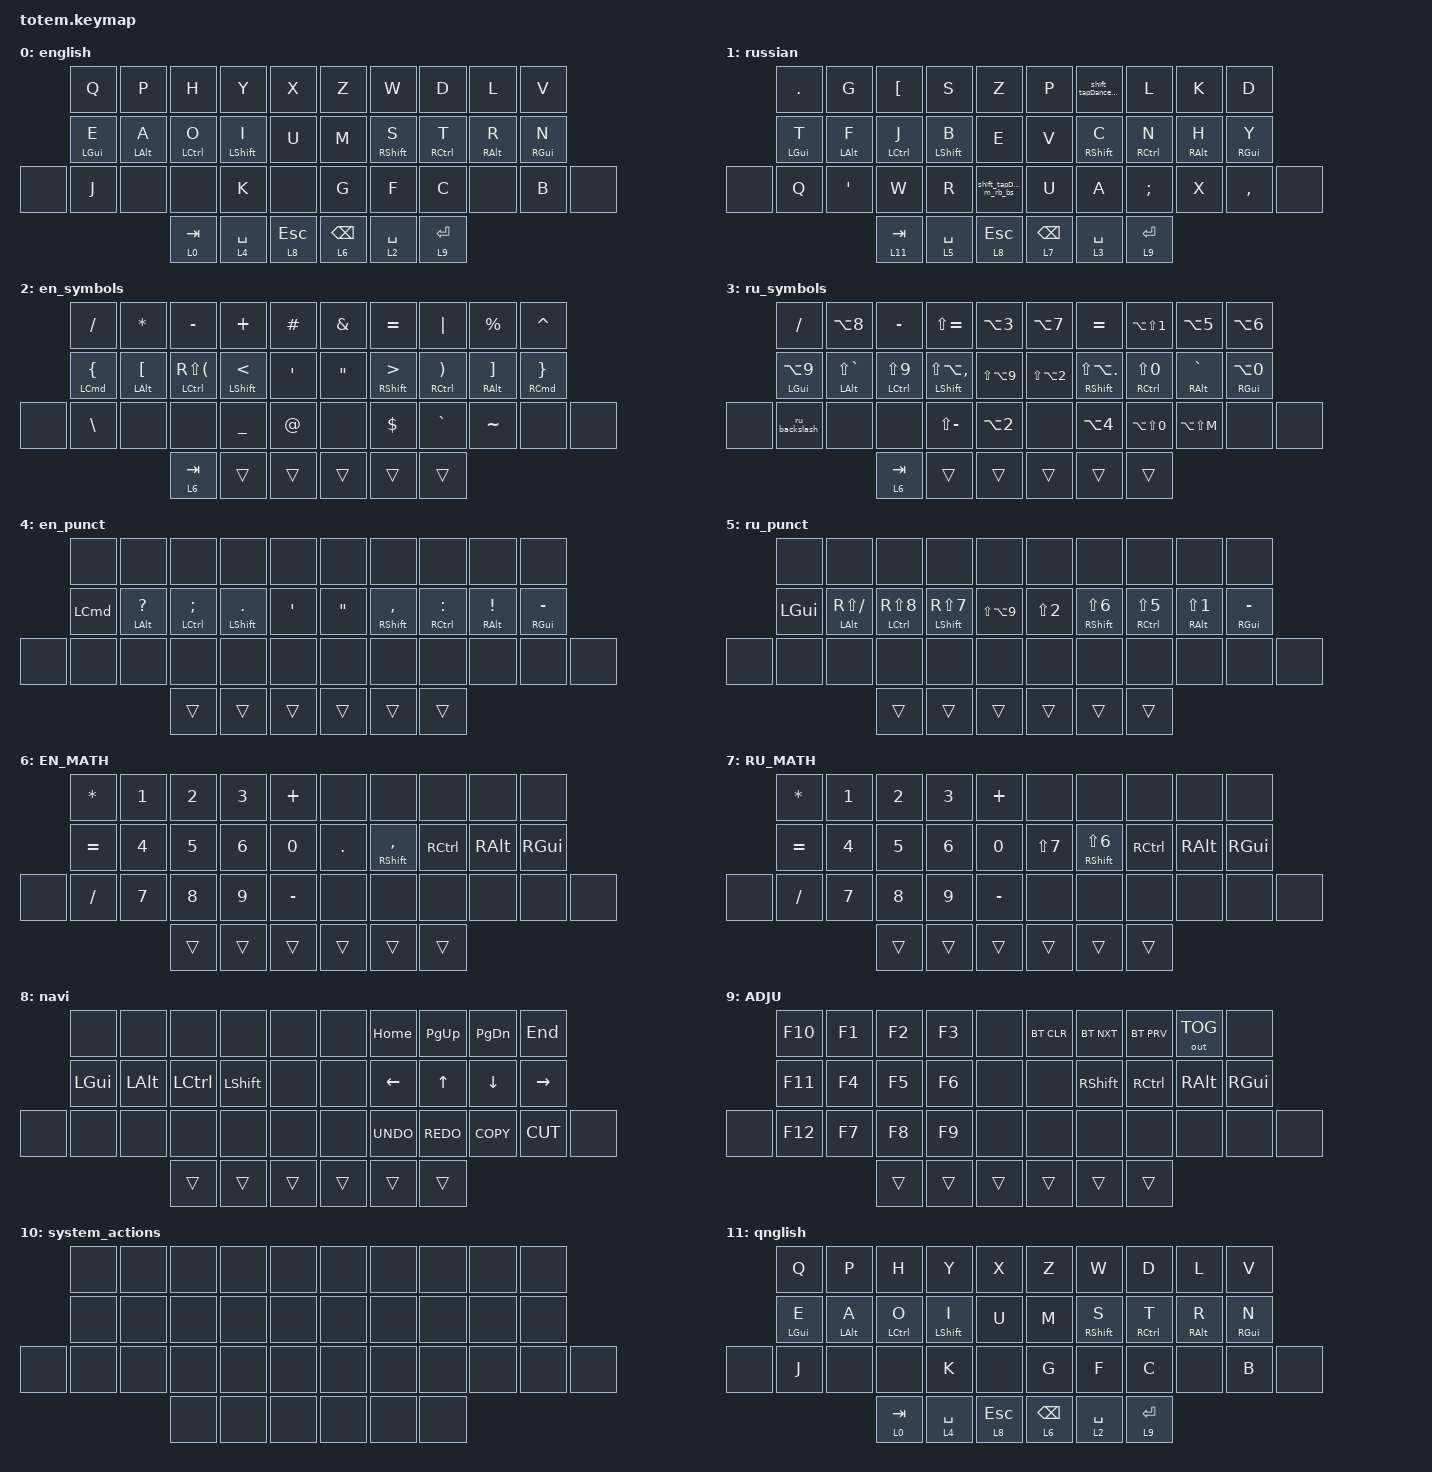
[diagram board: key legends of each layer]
//
//                                                        ▀▀▀▀▀     ▀▀▀▀▀          ▀▀█▀▀
//                                                        ▄▀▀▀▄  ▄  ▄▀▀▀▄  ▄  ▄▀▀▀▄  █  ▄▀▀▀▄
//                                                        █   █  █  █   █  █  █   █  █  █   █
//                                                         ▀▀▀   █   ▀▀▀   █   ▀▀▀   ▀   ▀▀▀
//                                                               █      ▄▄▄█▄▄▄    █   █  
//                                                               ▀      █  █  █     █▄█
//                                                             ▀▀▀▀▀    █  █  █      ▀
//                                                                      ▀  ▀  ▀
//
// ▄▄▄▄▄▄▄▄▄▄▄▄▄▄▄▄▄▄▄▄▄▄▄▄▄▄▄▄▄▄▄▄▄▄▄▄▄▄▄▄▄▄▄▄▄▄▄▄▄▄▄▄▄▄▄▄▄▄▄▄▄▄▄▄▄▄▄▄▄▄▄▄▄▄▄▄▄▄▄▄▄▄▄▄▄▄▄▄▄▄▄▄▄▄▄▄▄▄▄▄▄▄▄▄▄▄▄▄▄▄▄▄▄▄▄▄▄▄▄▄▄▄▄▄▄▄▄▄▄▄▄▄▄▄▄▄▄▄▄▄▄▄▄▄▄▄▄▄▄

#define BASE 0
#define MATH 1
#define SYMB 2
#define ADJU  3

#include <behaviors.dtsi>
#include <dt-bindings/zmk/bt.h>
#include <dt-bindings/zmk/keys.h>
#include <dt-bindings/zmk/outputs.h>

&caps_word {
    continue-list = <UNDERSCORE BACKSPACE DELETE COMMA DOT APOS LBKT RBKT SEMI>;
    mods = <(MOD_LSFT)>;
};

/ {
    combos {
        compatible = "zmk,combos";

        ru_layer {
            bindings = <&ru_layer>;
            key-positions = <37 32>;
            layers = <1 0>;
        };

        en_layer {
            bindings = <&en_layer>;
            key-positions = <36 33>;
        };

        caps_word {
            bindings = <&togle_shift>;
            key-positions = <16 13>;
        };
    };

    behaviors {
        hrm: hrm {
            compatible = "zmk,behavior-hold-tap";
            #binding-cells = <2>;
            flavor = "tap-preferred";
            tapping-term-ms = <200>;
            quick-tap-ms = <200>;
            bindings = <&kp>, <&kp>;
        };

        m_rBraket_backslash: m_rBraket_backslash {
            compatible = "zmk,behavior-tap-dance";
            label = "M_RBRAKET_BACKSLASH";
            #binding-cells = <0>;
            bindings = <&kp M>, <&kp RIGHT_BRACKET>, <&kp BACKSLASH>;

            tapping-term-ms = <200>;
        };

        i_o: i_o {
            compatible = "zmk,behavior-tap-dance";
            label = "I_O";
            #binding-cells = <0>;
            bindings = <&kp I>, <&kp O>;

            tapping-term-ms = <200>;
        };

        sI_sO: sI_sO {
            compatible = "zmk,behavior-tap-dance";
            label = "SI_SO";
            #binding-cells = <0>;
            bindings = <&kp LS(I)>, <&kp LS(O)>;
        };

        sM_sRBraket_sBackslash: sM_sRBraket_sBackslash {
            compatible = "zmk,behavior-tap-dance";
            label = "SM_SRBRAKET_SBACKSLASH";
            #binding-cells = <0>;
            bindings =
                <&kp LS(M)>,
                <&kp LA(RIGHT_BRACKET)>,
                <&kp LS(BACKSLASH)>;
        };

        shift_tapDance_i_o: shift_tapDance_i_o {
            compatible = "zmk,behavior-mod-morph";
            label = "SHIFT_TAPDANCE_I_O";
            bindings = <&i_o>, <&sI_sO>;

            #binding-cells = <0>;
            mods = <(MOD_LSFT|MOD_RSFT)>;
            keep-mods = <(MOD_LSFT|MOD_RSFT)>;
        };

        shift_tapDance_m_rb_bs: shift_tapDance_m_rb_bs {
            compatible = "zmk,behavior-mod-morph";
            label = "SHIFT_TAPDANCE_M_RB_BS";
            bindings = <&m_rBraket_backslash>, <&sM_sRBraket_sBackslash>;

            #binding-cells = <0>;
            mods = <(MOD_LSFT|MOD_RSFT)>;
            keep-mods = <(MOD_LSFT|MOD_RSFT)>;
        };
    };

    macros {
        ru_layer: change_leng_layer {
            compatible = "zmk,behavior-macro";
            #binding-cells = <0>;
            bindings = <&kp LS(LA(LC(LG(NUMBER_1)))) &to 1>;
            label = "CHANGE_LENG_LAYER";
        };

        en_layer: en_ru_layers {
            compatible = "zmk,behavior-macro";
            #binding-cells = <0>;
            bindings = <&kp LC(LS(LA(LG(N0)))) &to 0>;
            label = "EN_RU_LAYERS";
        };

        ru_backslash: ru_backslash {
            compatible = "zmk,behavior-macro";
            #binding-cells = <0>;
            bindings = <&kp LS(LA(SLASH)) &kp SPACE &kp BACKSPACE>;
            label = "RU_BACKSLASH";
            tap-ms = <10>;
        };

        togle_shift: togle_shift {
            compatible = "zmk,behavior-macro";
            #binding-cells = <0>;
            bindings = <&kt LEFT_SHIFT>;
            label = "TOGLE_SHIFT";
        };
    };

    keymap {
        compatible = "zmk,keymap";

        english {
            label = "english";
            bindings = <
       &kp Q        &kp P        &kp H         &kp Y         &kp X        &kp Z            &kp W         &kp D         &kp L        &kp V
       &hrm LGUI E  &hrm LALT A  &hrm LCTRL O  &hrm LSHFT I  &kp U        &kp M            &hrm RSHFT S  &hrm RCTRL T  &hrm RALT R  &hrm RGUI N
&none  &kp J        &none        &none         &kp K         &none        &kp G            &kp F         &kp C         &none        &kp B        &none
                                 &lt 0 TAB     &lt 4 SPACE   &lt 8 ESC    &lt 6 BACKSPACE  &lt 2 SPACE   &lt 9 RET
            >;
        };

        russian {
            bindings = <
       &kp DOT      &kp G        &kp LBKT      &kp S         &kp Z                      &kp P            &shift_tapDance_i_o  &kp L                 &kp K        &kp D
       &hrm LGUI T  &hrm LALT F  &hrm LCTRL J  &hrm LSHFT B  &kp E                      &kp V            &hrm RSHFT C         &hrm RIGHT_CONTROL N  &hrm RALT H  &hrm RGUI Y
&none  &kp Q        &kp APOS     &kp W         &kp R         &shift_tapDance_m_rb_bs    &kp U            &kp A                &kp SEMI              &kp X        &kp COMMA    &none
                                 &lt 11 TAB    &lt 5 SPACE   &lt 8 ESCAPE               &lt 7 BACKSPACE  &lt 3 SPACE          &lt 9 RET
            >;
        };

        en_symbols {
            bindings = <
       &kp FSLH                      &kp STAR                    &kp MINUS                   &kp PLUS               &kp HASH    &kp AMPERSAND      &kp EQUAL                 &kp PIPE                              &kp PERCENT                   &kp CARET
       &hrm LEFT_COMMAND LEFT_BRACE  &hrm LEFT_ALT LEFT_BRACKET  &hrm LEFT_CONTROL RS(LPAR)  &hrm LSHIFT LESS_THAN  &kp SQT     &kp DOUBLE_QUOTES  &hrm RSHIFT GREATER_THAN  &hrm RIGHT_CONTROL RIGHT_PARENTHESIS  &hrm RIGHT_ALT RIGHT_BRACKET  &hrm RIGHT_COMMAND RIGHT_BRACE
&none  &kp BACKSLASH                 &none                       &none                       &kp UNDERSCORE         &kp AT      &none              &kp DOLLAR                &kp GRAVE                             &kp TILDE                     &none                           &none
                                                                 &lt 6 TAB                   &trans                 &trans      &trans             &trans                    &trans
            >;
        };

        ru_symbols {
            bindings = <
       &kp FSLH              &kp LA(N8)           &kp MINUS          &kp LS(EQUAL)                  &kp LA(N3)        &kp LA(N7)            &kp EQUAL                        &kp LA(LS(N1))     &kp LA(N5)       &kp LA(N6)
       &hrm LEFT_GUI LA(N9)  &hrm LALT LS(GRAVE)  &hrm LCTRL LS(N9)  &hrm LEFT_SHIFT LS(LA(COMMA))  &kp LS(LA(N9))    &kp LS(LA(NUMBER_2))  &hrm RIGHT_SHIFT LS(LA(PERIOD))  &hrm RCTRL LS(N0)  &hrm RALT GRAVE  &hrm RGUI LA(N0)
&none  &ru_backslash         &none                &none              &kp LS(MINUS)                  &kp LA(N2)        &none                 &kp LA(NUMBER_4)                 &kp LA(LS(N0))     &kp LA(LS(M))    &none             &none
                                                  &lt 6 TAB          &trans                         &trans            &trans                &trans                           &trans
            >;
        };

        en_punct {
            bindings = <
       &none             &none                   &none                        &none                &none      &none              &none                   &none                     &none                       &none
       &kp LEFT_COMMAND  &hrm LEFT_ALT QUESTION  &hrm LEFT_CONTROL SEMICOLON  &hrm LEFT_SHIFT DOT  &kp SQT    &kp DOUBLE_QUOTES  &hrm RIGHT_SHIFT COMMA  &hrm RIGHT_CONTROL COLON  &hrm RIGHT_ALT EXCLAMATION  &hrm RIGHT_GUI MINUS
&none  &none             &none                   &none                        &none                &none      &none              &none                   &none                     &none                       &none                 &none
                                                 &trans                       &trans               &trans     &trans             &trans                  &trans
            >;
        };

        ru_punct {
            bindings = <
       &none         &none                    &none                     &none                   &none             &none             &none                          &none                      &none                        &none
       &kp LEFT_GUI  &hrm LEFT_ALT RS(SLASH)  &hrm LEFT_CONTROL RS(N8)  &hrm LEFT_SHIFT RS(N7)  &kp LS(LA(N9))    &kp LS(NUMBER_2)  &hrm RIGHT_SHIFT LS(NUMBER_6)  &hrm RIGHT_CONTROL LS(N5)  &hrm RIGHT_ALT LS(NUMBER_1)  &hrm RIGHT_GUI MINUS
&none  &none         &none                    &none                     &none                   &none             &none             &none                          &none                      &none                        &none                 &none
                                              &trans                    &trans                  &trans            &trans            &trans                         &trans
            >;
        };

        en_math {
            label = "EN_MATH";
            bindings = <
       &kp ASTERISK  &kp NUMBER_1  &kp NUMBER_2  &kp NUMBER_3  &kp PLUS     &none    &none                   &none      &none          &none
       &kp EQUAL     &kp NUMBER_4  &kp N5        &kp N6        &kp N0       &kp DOT  &hrm RIGHT_SHIFT COMMA  &kp RCTRL  &kp RIGHT_ALT  &kp RIGHT_GUI
&none  &kp SLASH     &kp NUMBER_7  &kp NUMBER_8  &kp NUMBER_9  &kp MINUS    &none    &none                   &none      &none          &none          &none
                                   &trans        &trans        &trans       &trans   &trans                  &trans
            >;
        };

        ru_math {
            label = "RU_MATH";
            bindings = <
       &kp ASTERISK  &kp NUMBER_1  &kp NUMBER_2  &kp NUMBER_3  &kp PLUS     &none       &none                          &none      &none          &none
       &kp EQUAL     &kp NUMBER_4  &kp N5        &kp N6        &kp N0       &kp LS(N7)  &hrm RIGHT_SHIFT LS(NUMBER_6)  &kp RCTRL  &kp RIGHT_ALT  &kp RIGHT_GUI
&none  &kp SLASH     &kp NUMBER_7  &kp NUMBER_8  &kp NUMBER_9  &kp MINUS    &none       &none                          &none      &none          &none          &none
                                   &trans        &trans        &trans       &trans      &trans                         &trans
            >;
        };

        navi {
            bindings = <
       &none     &none     &none      &none           &none     &none   &kp HOME        &kp PAGE_UP   &kp PAGE_DOWN   &kp END
       &kp LGUI  &kp LALT  &kp LCTRL  &kp LEFT_SHIFT  &none     &none   &kp LEFT_ARROW  &kp UP_ARROW  &kp DOWN_ARROW  &kp RIGHT_ARROW
&none  &none     &none     &none      &none           &none     &none   &kp K_UNDO      &kp K_REDO    &kp K_COPY      &kp K_CUT        &none
                           &trans     &trans          &trans    &trans  &trans          &trans
            >;
        };

        func {
            label = "ADJU";
            bindings = <
       &kp F10  &kp F1  &kp F2  &kp F3  &none     &bt BT_CLR  &bt BT_NXT  &bt BT_PRV  &out OUT_TOG  &none
       &kp F11  &kp F4  &kp F5  &kp F6  &none     &none       &kp RSHIFT  &kp RCTRL   &kp RALT      &kp RGUI
&none  &kp F12  &kp F7  &kp F8  &kp F9  &none     &none       &none       &none       &none         &none     &none
                        &trans  &trans  &trans    &trans      &trans      &trans
            >;
        };

        system_actions {
            bindings = <
       &none  &none  &none  &none  &none    &none  &none  &none  &none  &none
       &none  &none  &none  &none  &none    &none  &none  &none  &none  &none
&none  &none  &none  &none  &none  &none    &none  &none  &none  &none  &none  &none
                     &none  &none  &none    &none  &none  &none
            >;
        };

        english_2 {
            label = "qnglish";
            bindings = <
       &kp Q        &kp P        &kp H         &kp Y         &kp X        &kp Z            &kp W         &kp D         &kp L        &kp V
       &hrm LGUI E  &hrm LALT A  &hrm LCTRL O  &hrm LSHFT I  &kp U        &kp M            &hrm RSHFT S  &hrm RCTRL T  &hrm RALT R  &hrm RGUI N
&none  &kp J        &none        &none         &kp K         &none        &kp G            &kp F         &kp C         &none        &kp B        &none
                                 &lt 0 TAB     &lt 4 SPACE   &lt 8 ESC    &lt 6 BACKSPACE  &lt 2 SPACE   &lt 9 RET
            >;
        };
    };
};
